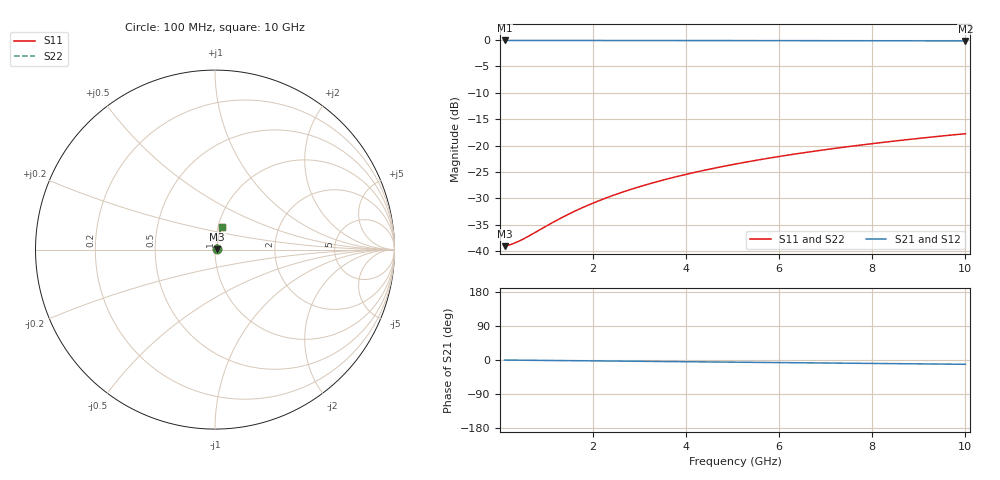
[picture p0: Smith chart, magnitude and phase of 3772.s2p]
# Hz S RI R 50.00
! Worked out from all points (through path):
!   100 points, 100 MHz to 10 GHz, reference 50 ohm
!   highest |S21| = -0.10 dB at 100 MHz (marker M1); lowest = -0.2 dB at 10 GHz (marker M2)
!   group delay of S21, straight-line fit = 3.14 ps
!   lowest |S11| = -39.0 dB at 100 MHz (marker M3), VSWR 1.02, Z = 51.1 + j0.131 ohm
!   |S11| at or under -10 dB: start of sweep to end of sweep
!   |S22| runs from -39.0 to -17.7 dB; largest |S21 - S12| = 0
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1e8  0.0111 0.00128  0.9889 -0.00196  0.9889 -0.00196  0.0111 0.00128
2e8  0.0112 0.00257  0.9888 -0.00392  0.9888 -0.00392  0.0112 0.00257
3e8  0.0112 0.00385  0.9887 -0.00588  0.9887 -0.00588  0.0112 0.00385
5e8  0.0114 0.00642  0.9886 -0.0098  0.9886 -0.0098  0.0114 0.00642
1.1e9  0.0118 0.0141  0.9882 -0.0216  0.9882 -0.0216  0.0118 0.0141
1.3e9  0.0119 0.0167  0.988 -0.0255  0.988 -0.0255  0.0119 0.0167
1.5e9  0.0121 0.0192  0.9878 -0.0294  0.9878 -0.0294  0.0121 0.0192
1.8e9  0.0124 0.0231  0.9875 -0.0353  0.9875 -0.0353  0.0124 0.0231
2.1e9  0.0127 0.0269  0.9871 -0.0411  0.9871 -0.0411  0.0127 0.0269
2.5e9  0.0133 0.032  0.9866 -0.0489  0.9866 -0.0489  0.0133 0.032
2.9e9  0.0139 0.0371  0.9859 -0.0567  0.9859 -0.0567  0.0139 0.0371
3.4e9  0.0147 0.0434  0.985 -0.0665  0.985 -0.0665  0.0147 0.0434
3.8e9  0.0155 0.0485  0.9842 -0.0743  0.9842 -0.0743  0.0155 0.0485
4.2e9  0.0163 0.0535  0.9832 -0.082  0.9832 -0.082  0.0163 0.0535
4.6e9  0.0172 0.0586  0.9822 -0.0898  0.9822 -0.0898  0.0172 0.0586
5.1e9  0.0185 0.0648  0.9809 -0.0994  0.9809 -0.0994  0.0185 0.0648
5.9e9  0.0208 0.0748  0.9784 -0.1148  0.9784 -0.1148  0.0208 0.0748
6.7e9  0.0234 0.0847  0.9756 -0.1301  0.9756 -0.1301  0.0234 0.0847
7.5e9  0.0262 0.0944  0.9724 -0.1453  0.9724 -0.1453  0.0262 0.0944
8.4e9  0.0299 0.1053  0.9685 -0.1623  0.9685 -0.1623  0.0299 0.1053
9.2e9  0.0334 0.1148  0.9646 -0.1773  0.9646 -0.1773  0.0334 0.1148
1e10  0.0372 0.1242  0.9604 -0.1921  0.9604 -0.1921  0.0372 0.1242
